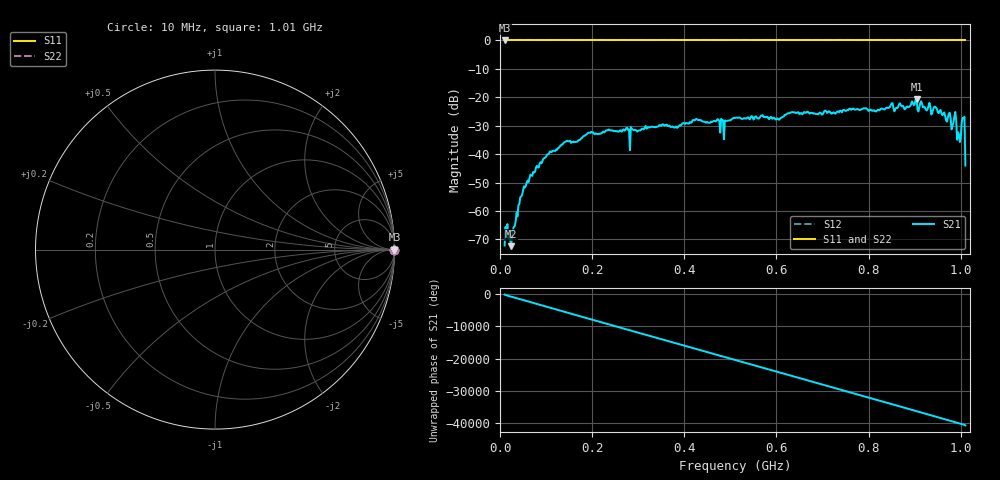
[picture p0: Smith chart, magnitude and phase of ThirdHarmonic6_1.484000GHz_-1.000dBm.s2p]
! 8/16/2025 5:21:46 PM
! C:\ANRITSUVNA\TEMP\TEMP.S2P
! CHANNEL.1
! TR.MEASUREMENT
! RAW.DATA
! RF.CORRECTION.OFF
! AVERAGING.OFF
! IF.BANDWIDTH: 5KHZ
! SWEEPTYPE:  FREQ.SWEEP(Linear)
! Reference Plane Port Info
! PORT:  PORT1  PORT2
! DISTANCE:  0  m  0  m
! TIME:  0  s  0  s
! PHASE.OFFSET:  0  deg.  0  deg.
! LOSS:  0  dB  0  dB
! REF.LOSS:  0  dB  0  dB
! REF.FREQ:  0  Hz  0  Hz
! Power Info
! POWER:  -20  dBm  -20  dBm
! EFF.POWER:  -20  dBm  -20  dBm
! SOURCE.ATTEN:  0  dB  0  dB
! TEST.ATTEN:  0  dB  0  dB
# GHZ S RI R 50.0
! FREQ.GHZ  S11RE  S11IM  S21RE  S21IM  S12RE  S12IM  S22RE  S22IM
!; PortSelection: Port_12
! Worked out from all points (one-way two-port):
!   501 points, 10 MHz to 1.01 GHz, reference 50 ohm
!   highest |S21| = -20.69 dB at 904 MHz (marker M1); lowest = -72.4 dB at 24 MHz (marker M2)
!   lowest |S11| = 0.0 dB at 10 MHz (marker M3)
!   |S11| at or under -10 dB: nowhere
!   |S22| runs from 0.0 to 0.0 dB; largest |S21 - S12| = 1.1
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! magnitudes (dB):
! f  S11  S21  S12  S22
! 10 MHz  0.0  -72.1  0.0  0.0
! 16 MHz  0.0  -64.6  0.0  0.0
! 24 MHz  0.0  -72.4  0.0  0.0
! 48 MHz  0.0  -54.3  0.0  0.0
! 76 MHz  0.0  -46.2  0.0  0.0
! 142 MHz  0.0  -35.7  0.0  0.0
! 178 MHz  0.0  -34.3  0.0  0.0
! 344 MHz  0.0  -30.2  0.0  0.0
! 382 MHz  0.0  -30.3  0.0  0.0
! 428 MHz  0.0  -27.8  0.0  0.0
! 472 MHz  0.0  -27.7  0.0  0.0
! 482 MHz  0.0  -28.1  0.0  0.0
! 510 MHz  0.0  -27.3  0.0  0.0
! 678 MHz  0.0  -25.5  0.0  0.0
! 844 MHz  0.0  -23.7  0.0  0.0
! 904 MHz  0.0  -20.7  0.0  0.0
! 944 MHz  0.0  -23.3  0.0  0.0
! 982 MHz  0.0  -30.0  0.0  0.0
! 986 MHz  0.0  -26.9  0.0  0.0
! 996 MHz  0.0  -33.1  0.0  0.0
! 1.004 GHz  0.0  -27.2  0.0  0.0
! 1.01 GHz  0.0  -44.0  0.0  0.0
